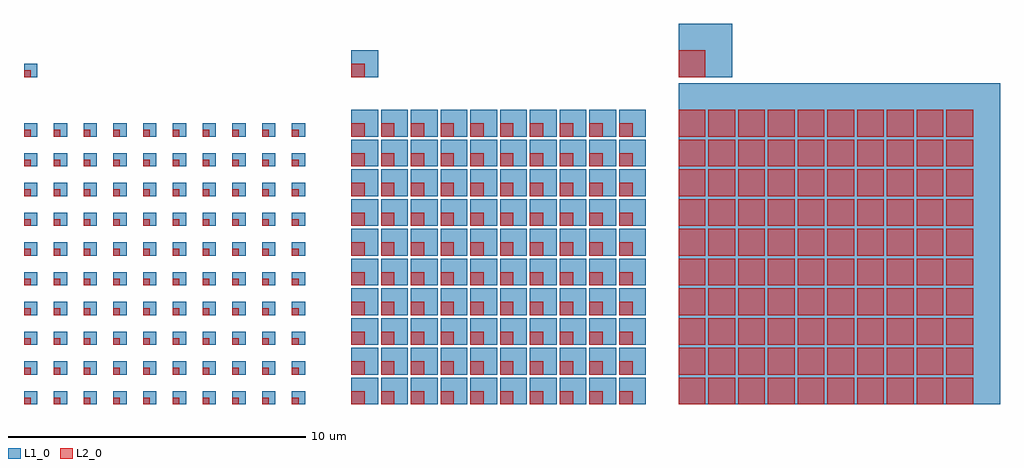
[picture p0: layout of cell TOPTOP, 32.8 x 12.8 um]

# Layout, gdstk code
import gdstk
lib = gdstk.Library(unit=1e-6, precision=1e-09)
def R(c, l, rs):  # rectangles x0, y0, x1, y1
    for r in rs: c.add(gdstk.rectangle(r[:2], r[2:], *l))
L1_0 = (1, 0)
L2_0 = (2, 0)

top = lib.new_cell('TOP')
R(top, L1_0, [(0,0,0.9,0.9)])
R(top, L2_0, [(0,0,0.45,0.45)])

toptop = lib.new_cell('TOPTOP')
toptop.add(gdstk.Reference(top, (22,11), magnification=2))
toptop.add(gdstk.Reference(top, (11,11)))
toptop.add(gdstk.Reference(top, (0,11), magnification=0.5))
r = gdstk.Reference(top, (22,0), magnification=2); r.repetition = gdstk.Repetition(10, 10, v1=(1,0), v2=(0,1)); toptop.add(r)
r = gdstk.Reference(top, (11,0)); r.repetition = gdstk.Repetition(10, 10, v1=(1,0), v2=(0,1)); toptop.add(r)
r = gdstk.Reference(top, (0,0), magnification=0.5); r.repetition = gdstk.Repetition(10, 10, v1=(1,0), v2=(0,1)); toptop.add(r)

lib.write_gds('TOPTOP.gds')
